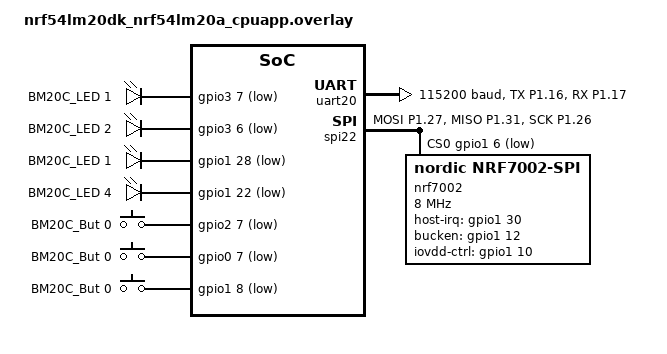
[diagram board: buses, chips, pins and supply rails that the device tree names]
// To get started, press Ctrl+Space to bring up the completion menu and view the available nodes.

// You can also use the buttons in the sidebar to perform actions on nodes.
// Actions currently available include:

// * Enabling / disabling the node
// * Adding the bus to a bus
// * Removing the node
// * Connecting ADC channels

// For more help, browse the DeviceTree documentation at https://docs.zephyrproject.org/latest/guides/dts/index.html
// You can also visit the nRF DeviceTree extension documentation at https://docs.nordicsemi.com/bundle/nrf-connect-vscode/page/guides/ncs_configure_app.html#devicetree-support-in-the-extension
&gpio0 {
    status = "okay";
};
&gpio1 {
    status = "okay";
};

&gpio2 {
    status = "okay";
};
&gpio3 {
    status = "okay";
};


&pinctrl {
    /omit-if-no-ref/ uart20_default: uart20_default {
		group1 {
			psels = <NRF_PSEL(UART_TX, 1, 16)>;
		};
		group2 {
			psels = <NRF_PSEL(UART_RX, 1, 17)>;
			bias-pull-up;
		};
	};

	/omit-if-no-ref/ uart20_sleep: uart20_sleep {
		group1 {
			psels = <NRF_PSEL(UART_TX, 1, 16)>,
				<NRF_PSEL(UART_RX, 1, 17)>;
			low-power-enable;
		};
	};
};


&uart20 {
    status = "okay";
    current-speed = <115200>;
    pinctrl-0 = <&uart20_default>;
    pinctrl-1 = <&uart20_sleep>;
    pinctrl-names = "default", "sleep";

};


/ {
    aliases {
        wifi-spi = &spi22;
    };
};


&pinctrl {
    spi22_default: spi22_default {
        group1 {
            psels = <NRF_PSEL(SPIM_MOSI, 1, 27)>,
                    <NRF_PSEL(SPIM_MISO, 1, 31)>,
                    <NRF_PSEL(SPIM_SCK, 1, 26)>;
        };
    };

    spi22_sleep: spi22_sleep {
        group1 {
            psels = <NRF_PSEL(SPIM_MOSI, 1, 27)>,
                    <NRF_PSEL(SPIM_MISO, 1, 31)>,
                    <NRF_PSEL(SPIM_SCK, 1, 26)>;
            low-power-enable;
        };
    };
};

//Add Cmake -DSHIELD=nrf7002eb2
&spi22 {
    status = "okay";
    pinctrl-0 = <&spi22_default>;
    pinctrl-1 = <&spi22_sleep>;
    pinctrl-names = "default", "sleep";
    cs-gpios = <&gpio1 6 GPIO_ACTIVE_LOW>;

    nrf70: nrf7002-spi@0 {
        compatible = "nordic,nrf7002-spi";
        reg = <0>;
        spi-max-frequency = <8000000>;

        wifi-max-tx-pwr-2g-dsss = <0x15>;
        wifi-max-tx-pwr-2g-mcs0 = <0x10>;
        wifi-max-tx-pwr-2g-mcs7 = <0x10>;
        wifi-max-tx-pwr-5g-low-mcs0 = <0x0D>;
        wifi-max-tx-pwr-5g-low-mcs7 = <0x0D>;
        wifi-max-tx-pwr-5g-mid-mcs0 = <0x0D>;
        wifi-max-tx-pwr-5g-mid-mcs7 = <0x0D>;
        wifi-max-tx-pwr-5g-high-mcs0 = <0x0C>;
        wifi-max-tx-pwr-5g-high-mcs7 = <0x0C>;

        host-irq-gpios   = <&gpio1 30 GPIO_ACTIVE_HIGH>;
        bucken-gpios     = <&gpio1 12 GPIO_ACTIVE_HIGH>;
        iovdd-ctrl-gpios = <&gpio1 10 GPIO_ACTIVE_HIGH>;
        label = "nrf7002";
        wlan0: wlan0 {
			compatible = "nordic,wlan";
		};
    };
};
&led0{
	gpios = <&gpio3 7 GPIO_ACTIVE_LOW>;
	label = "BM20C_LED 1";
};
&led1{
	gpios = <&gpio3 6 GPIO_ACTIVE_LOW>;
	label = "BM20C_LED 2";
};
&led2{
	gpios = <&gpio1 28 GPIO_ACTIVE_LOW>;
	label = "BM20C_LED 1";
};
&led3{
	gpios = <&gpio1 22 GPIO_ACTIVE_LOW>;
	label = "BM20C_LED 4";
};

&button0 {
	gpios = <&gpio2 7 GPIO_ACTIVE_LOW>;
	label = "BM20C_But 0";
};
&button1 {
	gpios = <&gpio0 7 GPIO_ACTIVE_LOW>;
	label = "BM20C_But 0";
};
&button2 {
	gpios = <&gpio1 8 GPIO_ACTIVE_LOW>;
	label = "BM20C_But 0";
};
&pwm20 {
   	status="disabled";
};
&spi00 {
   	status="disabled";
};
